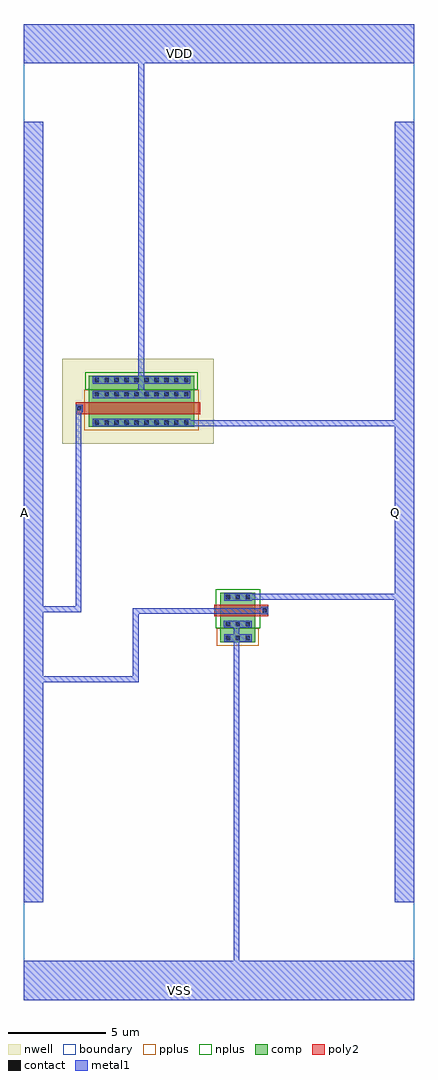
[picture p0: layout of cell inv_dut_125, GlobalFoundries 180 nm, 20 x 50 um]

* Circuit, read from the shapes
.subckt inv_dut_125 A Q VDD VSS
XM1 Q A VSS VSS nfet_03v3 w=1.8u l=0.6u
XM2 VDD A Q VDD pfet_03v3 w=5.4u l=0.6u
.ends

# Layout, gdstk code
from math import pi, radians
import gdstk
lib = gdstk.Library(unit=1e-6, precision=1e-09)
def R(c, l, rs):  # rectangles x0, y0, x1, y1
    for r in rs: c.add(gdstk.rectangle(r[:2], r[2:], *l))
def A(c, l, x, y, w, h, nx, ny, dx, dy):  # array of equal rectangles
    R(c, l, [(x+i*dx, y+j*dy, x+i*dx+w, y+j*dy+h) for i in range(nx) for j in range(ny)])
boundary = (0, 0)
nwell = (21, 0)
comp = (22, 0)
poly2 = (30, 0)
pplus = (31, 0)
nplus = (32, 0)
contact = (33, 0)
metal1 = (34, 0)

pfet = lib.new_cell('pfet')
R(pfet, nwell, [(-1.32,-0.99,3.03,6.77)])
R(pfet, comp, [(-0.46,0,2.17,5.4)])
R(pfet, poly2, [(0.19,-0.3,0.79,6.08)])
R(pfet, pplus, [(-0.63,-0.24,1.44,5.64)])
R(pfet, nplus, [(1.44,-0.17,2.34,5.57)])
A(pfet, contact, -0.34, 0.295, 0.22, 0.22, 1, 10, 0, 0.51)
A(pfet, contact, 1.1, 0.295, 0.22, 0.22, 1, 10, 0, 0.51)
A(pfet, contact, 1.83, 0.295, 0.22, 0.22, 1, 10, 0, 0.51)
R(pfet, contact, [(0.38,5.78,0.6,6)])
R(pfet, metal1, [(-0.42,0.215,-0.04,5.185), (1.02,0.215,1.4,5.185), (1.75,0.215,2.13,5.185), (0.3,5.7,0.68,6.08)])

nfet = lib.new_cell('nfet')
R(nfet, comp, [(-0.42,0,2.11,1.8)])
R(nfet, poly2, [(0.19,-0.3,0.79,2.46)])
R(nfet, pplus, [(1.4,-0.17,2.28,1.97)])
R(nfet, nplus, [(-0.59,-0.24,1.4,2.04)])
A(nfet, contact, -0.32, 0.28, 0.22, 0.22, 1, 3, 0, 0.51)
A(nfet, contact, 1.08, 0.28, 0.22, 0.22, 1, 3, 0, 0.51)
A(nfet, contact, 1.79, 0.28, 0.22, 0.22, 1, 3, 0, 0.51)
R(nfet, contact, [(0.38,2.17,0.6,2.39)])
R(nfet, metal1, [(-0.4,0.2,-0.02,1.6), (1,0.2,1.38,1.6), (1.71,0.2,2.09,1.6), (0.3,2.09,0.68,2.47)])

inv_dut_125 = lib.new_cell('inv_dut_125')
R(inv_dut_125, boundary, [(-10,-25,10,25)])
R(inv_dut_125, metal1, [(-10,-25,10,-23), (-10,-20,-9,20), (9,-20,10,20), (-10,23,10,25)])
inv_dut_125.add(gdstk.FlexPath([(-6.465,6.73),(-1.49,6.73)], 0.3, ends="flush", simple_path=True, layer=34, datatype=0))  # metal1
inv_dut_125.add(gdstk.FlexPath([(-6.44,6.02),(-1.465,6.02)], 0.3, ends="flush", simple_path=True, layer=34, datatype=0))  # metal1
inv_dut_125.add(gdstk.FlexPath([(-3.98,5.865),(-3.98,23.325)], 0.3, ends="flush", simple_path=True, layer=34, datatype=0))  # metal1
inv_dut_125.add(gdstk.FlexPath([(-7.2,5.315),(-7.2,-4.975),(-9.37,-4.975),(-9.37,-5),(-9.37,-5)], 0.3, ends="flush", simple_path=True, layer=34, datatype=0))  # metal1
inv_dut_125.add(gdstk.FlexPath([(2.32,-5.075),(-4.27,-5.075),(-4.27,-8.575),(-9.41,-8.575),(-9.41,-8.575)], 0.3, ends="flush", simple_path=True, layer=34, datatype=0))  # metal1
inv_dut_125.add(gdstk.FlexPath([(0.25,-5.73),(1.61,-5.73),(1.61,-5.73)], 0.3, ends="flush", simple_path=True, layer=34, datatype=0))  # metal1
inv_dut_125.add(gdstk.FlexPath([(0.31,-6.41),(1.58,-6.41)], 0.3, ends="flush", simple_path=True, layer=34, datatype=0))  # metal1
inv_dut_125.add(gdstk.FlexPath([(0.9,-5.79),(0.9,-23.375)], 0.3, ends="flush", simple_path=True, layer=34, datatype=0))  # metal1
inv_dut_125.add(gdstk.FlexPath([(0.37,-4.335),(9.135,-4.335)], 0.3, ends="flush", simple_path=True, layer=34, datatype=0))  # metal1
inv_dut_125.add(gdstk.FlexPath([(-6.41,4.55),(9.445,4.55)], 0.3, ends="flush", simple_path=True, layer=34, datatype=0))  # metal1
inv_dut_125.add(gdstk.Reference(pfet, (-1.27,4.82), rotation=pi/2))
inv_dut_125.add(gdstk.Reference(nfet, (0.065,-4.56), rotation=3*pi/2))
inv_dut_125.add(gdstk.Label('VDD', (-2,23.5), layer=34, texttype=10))
inv_dut_125.add(gdstk.Label('VSS', (-2,-24.5), layer=34, texttype=10))
inv_dut_125.add(gdstk.Label('A', (-9.97,0), layer=34, texttype=10))
inv_dut_125.add(gdstk.Label('Q', (9.03,0), layer=34, texttype=10))

lib.write_gds('inv_dut_125.gds')
